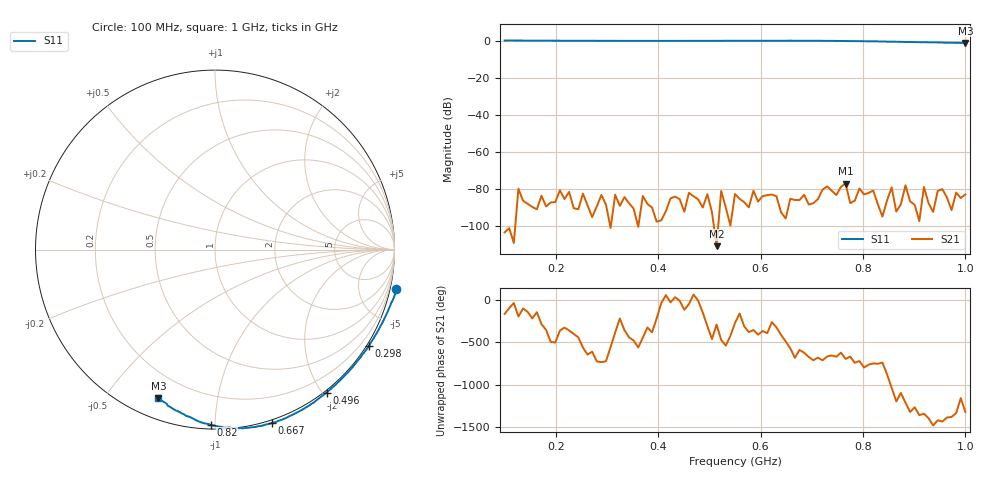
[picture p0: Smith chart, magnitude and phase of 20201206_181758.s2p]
# HZ S RI R 50
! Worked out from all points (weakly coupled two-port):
!   101 points, 100 MHz to 1 GHz, reference 50 ohm
!   highest |S21| = -76.88 dB at 766 MHz (marker M1); lowest = -110.7 dB at 514 MHz (marker M2)
!   lowest |S11| = -1.1 dB at 1 GHz (marker M3), VSWR 16.27, Z = 4.52 - j34.2 ohm
!   |S11| at or under -10 dB: nowhere
!   S12 and S22 are empty: the file has one direction only
!   S11 on the Smith chart (normalised r, x): 100 MHz: -1.26, -9.11; 298 MHz: -0.07, -3.47; 496 MHz: -0.03, -2.05; 667 MHz: -0.02, -1.38; 820 MHz: 0.02, -0.98; 1 GHz: 0.09, -0.68
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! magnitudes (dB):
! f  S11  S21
! 100 MHz  0.3  -103.3
! 253 MHz  0.1  -82.3
! 298 MHz  0.1  -88.2
! 406 MHz  0.1  -96.7
! 496 MHz  0.1  -82.6
! 514 MHz  0.1  -110.7
! 550 MHz  0.1  -82.5
! 667 MHz  0.1  -85.8
! 703 MHz  0.1  -87.5
! 721 MHz  0.1  -80.1
! 730 MHz  0.1  -78.4
! 748 MHz  0.0  -83.1
! 766 MHz  0.0  -76.9
! 775 MHz  0.0  -87.5
! 820 MHz  -0.2  -80.7
! 856 MHz  -0.3  -78.9
! 874 MHz  -0.5  -88.0
! 883 MHz  -0.5  -77.9
! 892 MHz  -0.5  -86.5
! 919 MHz  -0.7  -78.8
! 928 MHz  -0.7  -87.5
! 1 GHz  -1.1  -82.7
